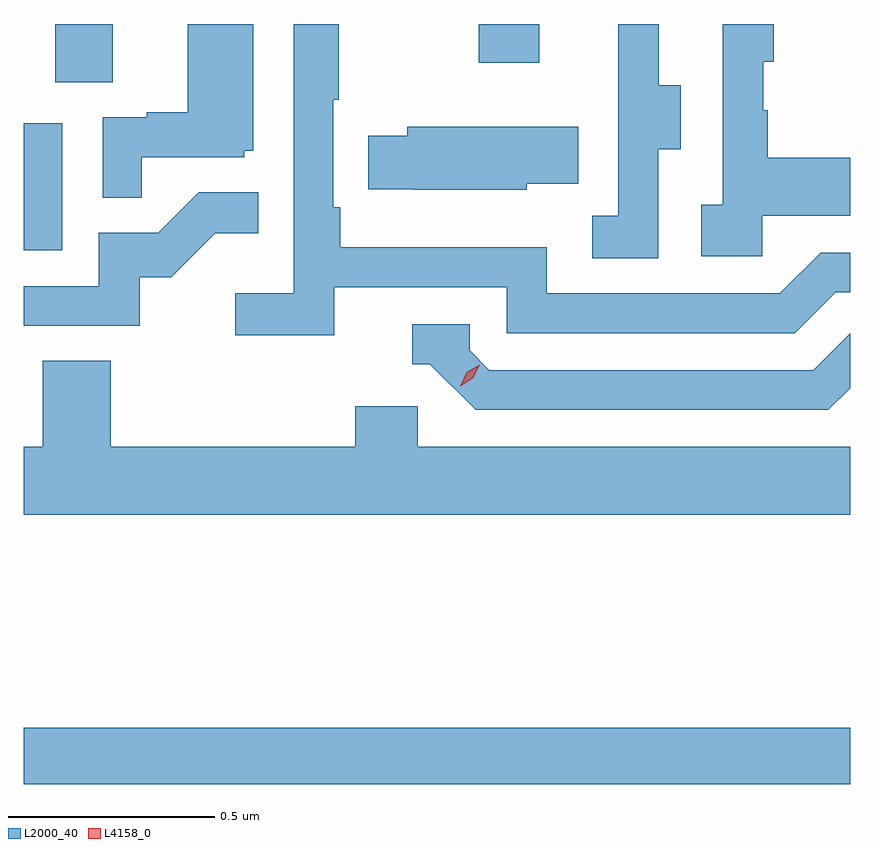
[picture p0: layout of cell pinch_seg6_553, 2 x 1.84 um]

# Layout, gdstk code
import gdstk
lib = gdstk.Library(unit=1e-6, precision=1e-09)
def R(c, l, rs):  # rectangles x0, y0, x1, y1
    for r in rs: c.add(gdstk.rectangle(r[:2], r[2:], *l))
def P(c, l, *ps):  # polygons
    for p in ps: c.add(gdstk.Polygon(p, *l))
L2000_40 = (2000, 40)
L4158_0 = (4158, 0)

pinch_seg6_553 = lib.new_cell('pinch_seg6_553')
R(pinch_seg6_553, L2000_40, [(849.817,921.376,851.817,921.512), (849.817,922.668,849.91,922.975), (849.893,923.074,850.033,923.215), (850.918,923.121,851.065,923.215)])
P(pinch_seg6_553, L2000_40, [(851.352,922.912),(851.407,922.912),(851.407,923.067),(851.353,923.067),(851.353,923.215),(851.255,923.215),(851.255,923.055),(851.256,923.055),(851.256,922.751),(851.193,922.751),(851.193,922.648),(851.352,922.648)],
  [(850.103,922.893),(850.35,922.893),(850.35,922.908),(850.372,922.908),(850.372,923.215),(850.214,923.215),(850.214,923.002),(850.115,923.002),(850.115,922.989),(850.008,922.989),(850.008,922.795),(850.103,922.795)],
  [(850.568,922.578),(850.986,922.578),(850.986,922.467),(851.683,922.467),(851.782,922.566),(851.817,922.566),(851.817,922.662),(851.745,922.662),(851.646,922.563),(851.082,922.563),(851.082,922.675),(850.583,922.675),(850.583,922.771),(850.566,922.771),(850.566,923.032),(850.579,923.032),(850.579,923.215),(850.47,923.215),(850.47,922.564),(850.329,922.564),(850.329,922.462),(850.568,922.462)],
  [(851.604,922.751),(851.817,922.751),(851.817,922.891),(851.617,922.891),(851.617,923.006),(851.607,923.006),(851.607,923.124),(851.632,923.124),(851.632,923.215),(851.508,923.215),(851.508,922.778),(851.457,922.778),(851.457,922.653),(851.604,922.653)],
  [(851.034,922.829),(851.159,922.829),(851.159,922.966),(850.745,922.966),(850.745,922.944),(850.651,922.944),(850.651,922.815),(850.762,922.815),(850.762,922.814),(851.034,922.814)],
  [(850.098,922.602),(850.174,922.602),(850.281,922.709),(850.385,922.709),(850.385,922.808),(850.241,922.808),(850.143,922.71),(849.999,922.71),(849.999,922.581),(849.817,922.581),(849.817,922.485),(850.098,922.485)],
  [(851.817,922.334),(851.817,922.467),(851.727,922.377),(850.944,922.377),(850.896,922.425),(850.896,922.488),(850.757,922.488),(850.757,922.392),(850.8,922.392),(850.911,922.281),(851.764,922.281)],
  [(851.817,922.192),(850.77,922.192),(850.77,922.29),(850.619,922.29),(850.619,922.192),(850.028,922.192),(850.028,922.4),(849.863,922.4),(849.863,922.192),(849.817,922.192),(849.817,922.028),(851.817,922.028)])
P(pinch_seg6_553, L4158_0, [(850.873,922.339),(850.873,922.339),(850.889,922.372),(850.92,922.39),(850.921,922.39),(850.921,922.39),(850.904,922.358),(850.873,922.339)])

lib.write_gds('pinch_seg6_553.gds')
